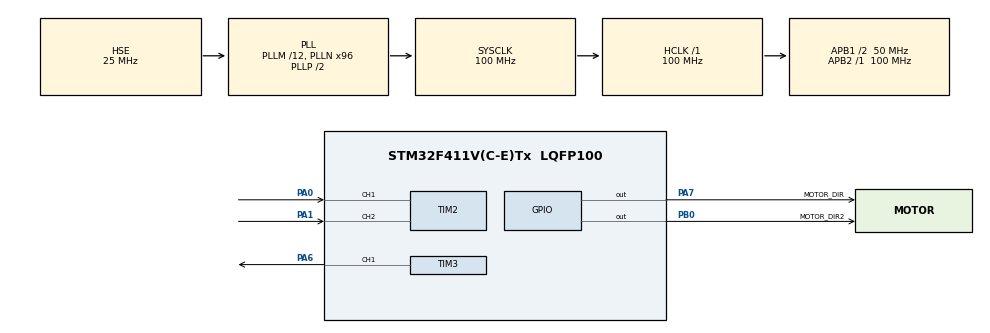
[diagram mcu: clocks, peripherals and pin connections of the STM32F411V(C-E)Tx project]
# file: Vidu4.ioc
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Mcu.Family=STM32F4
Mcu.Name=STM32F411V(C-E)Tx
Mcu.Package=LQFP100
NVIC.PriorityGroup=NVIC_PRIORITYGROUP_4
PA0-WKUP.GPIO_PuPd=GPIO_PULLUP
PA0-WKUP.Signal=S_TIM2_CH1_ETR
PA1.GPIO_PuPd=GPIO_PULLUP
PA1.Signal=S_TIM2_CH2
PA13.Mode=Serial_Wire
PA13.Signal=SYS_JTMS-SWDIO
PA14.Mode=Serial_Wire
PA14.Signal=SYS_JTCK-SWCLK
PA6.Signal=S_TIM3_CH1
PA7.GPIO_Label=MOTOR_DIR
PA7.Signal=GPIO_Output
PB0.GPIO_Label=MOTOR_DIR2
PB0.Signal=GPIO_Output
PH0\ -\ OSC_IN.Mode=HSE-External-Oscillator
PH0\ -\ OSC_IN.Signal=RCC_OSC_IN
PH1\ -\ OSC_OUT.Mode=HSE-External-Oscillator
PH1\ -\ OSC_OUT.Signal=RCC_OSC_OUT
ProjectManager.HeapSize=0x200
ProjectManager.StackSize=0x400
ProjectManager.TargetToolchain=MDK-ARM V5.32
RCC.48MHZClocksFreq_Value=50000000
RCC.AHBFreq_Value=100000000
RCC.APB1CLKDivider=RCC_HCLK_DIV2
RCC.APB1Freq_Value=50000000
RCC.APB1TimFreq_Value=100000000
RCC.APB2Freq_Value=100000000
RCC.APB2TimFreq_Value=100000000
RCC.CortexFreq_Value=100000000
RCC.HCLKFreq_Value=100000000
RCC.HSE_VALUE=25000000
RCC.HSI_VALUE=16000000
RCC.LSE_VALUE=32768
RCC.PLLM=12
RCC.PLLN=96
RCC.PLLSourceVirtual=RCC_PLLSOURCE_HSE
RCC.SYSCLKFreq_VALUE=100000000
RCC.SYSCLKSource=RCC_SYSCLKSOURCE_PLLCLK
RCC.VCOOutputFreq_Value=200000000
SH.S_TIM2_CH1_ETR.0=TIM2_CH1,Encoder_Interface
SH.S_TIM2_CH2.0=TIM2_CH2,Encoder_Interface
SH.S_TIM3_CH1.0=TIM3_CH1,PWM Generation1 CH1
TIM2.EncoderMode=TIM_ENCODERMODE_TI12
TIM3.AutoReloadPreload=TIM_AUTORELOAD_PRELOAD_ENABLE
TIM3.Channel-PWM\ Generation1\ CH1=TIM_CHANNEL_1
TIM3.Period=4999
VP_TIM3_VS_ClockSourceINT.Mode=Internal
board=custom

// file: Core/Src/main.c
/* USER CODE BEGIN Header */
/**
  ******************************************************************************
  * @file           : main.c
  * @brief          : Main program body
  ******************************************************************************
  * @attention
  *
  * Copyright (c) 2025 STMicroelectronics.
  * All rights reserved.
  *
  * This software is licensed under terms that can be found in the LICENSE file
  * in the root directory of this software component.
  * If no LICENSE file comes with this software, it is provided AS-IS.
  *
  ******************************************************************************
  */
/* USER CODE END Header */
#include "main.h"

/* USER CODE BEGIN Includes */
#include "pid_model.h"
/* USER CODE END Includes */

TIM_HandleTypeDef htim2;
TIM_HandleTypeDef htim3;

/* USER CODE BEGIN PV */
int32_t enc_cnt;
volatile uint32_t pid_tick_ms = 0;
/* USER CODE END PV */

void SystemClock_Config(void);
static void MX_GPIO_Init(void);
static void MX_TIM3_Init(void);
static void MX_TIM2_Init(void);
/* USER CODE BEGIN PFP */
void HAL_SYSTICK_Callback(void);
/* USER CODE END PFP */

int main(void)
{

  /* MCU Configuration--------------------------------------------------------*/

  /* Reset of all peripherals, Initializes the Flash interface and the Systick. */
  HAL_Init();

  /* Configure the system clock */
  SystemClock_Config();

  /* Initialize all configured peripherals */
  MX_GPIO_Init();
  MX_TIM3_Init();
  MX_TIM2_Init();
  /* USER CODE BEGIN 2 */
	/* Initialize Simulink PID model (states, internal variables, etc.) */
  pid_model_initialize();

  /* Reset encoder counter to zero before starting */
  __HAL_TIM_SET_COUNTER(&htim2, 0);

  /* Start TIM2 in encoder interface mode (counts encoder pulses) */
  HAL_TIM_Encoder_Start(&htim2, TIM_CHANNEL_ALL);

  /* Start TIM3 PWM Channel 1 (output will be updated in control loop) */
  HAL_TIM_PWM_Start(&htim3, TIM_CHANNEL_1);
  /* USER CODE END 2 */

  /* Infinite loop */
  while (1)
  {

  }
}

void SystemClock_Config(void)
{
  RCC_OscInitTypeDef RCC_OscInitStruct = {0};
  RCC_ClkInitTypeDef RCC_ClkInitStruct = {0};

  /** Configure the main internal regulator output voltage
  */
  __HAL_RCC_PWR_CLK_ENABLE();
  __HAL_PWR_VOLTAGESCALING_CONFIG(PWR_REGULATOR_VOLTAGE_SCALE1);

  /** Initializes the RCC Oscillators according to the specified parameters
  * in the RCC_OscInitTypeDef structure.
  */
  RCC_OscInitStruct.OscillatorType = RCC_OSCILLATORTYPE_HSE;
  RCC_OscInitStruct.HSEState = RCC_HSE_ON;
  RCC_OscInitStruct.PLL.PLLState = RCC_PLL_ON;
  RCC_OscInitStruct.PLL.PLLSource = RCC_PLLSOURCE_HSE;
  RCC_OscInitStruct.PLL.PLLM = 12;
  RCC_OscInitStruct.PLL.PLLN = 96;
  RCC_OscInitStruct.PLL.PLLP = RCC_PLLP_DIV2;
  RCC_OscInitStruct.PLL.PLLQ = 4;
  if (HAL_RCC_OscConfig(&RCC_OscInitStruct) != HAL_OK)
  {
    Error_Handler();
  }

  /** Initializes the CPU, AHB and APB buses clocks
  */
  RCC_ClkInitStruct.ClockType = RCC_CLOCKTYPE_HCLK|RCC_CLOCKTYPE_SYSCLK
                              |RCC_CLOCKTYPE_PCLK1|RCC_CLOCKTYPE_PCLK2;
  RCC_ClkInitStruct.SYSCLKSource = RCC_SYSCLKSOURCE_PLLCLK;
  RCC_ClkInitStruct.AHBCLKDivider = RCC_SYSCLK_DIV1;
  RCC_ClkInitStruct.APB1CLKDivider = RCC_HCLK_DIV2;
  RCC_ClkInitStruct.APB2CLKDivider = RCC_HCLK_DIV1;

  if (HAL_RCC_ClockConfig(&RCC_ClkInitStruct, FLASH_LATENCY_3) != HAL_OK)
  {
    Error_Handler();
  }
}

static void MX_TIM2_Init(void)
{

  TIM_Encoder_InitTypeDef sConfig = {0};
  TIM_MasterConfigTypeDef sMasterConfig = {0};

  htim2.Instance = TIM2;
  htim2.Init.Prescaler = 0;
  htim2.Init.CounterMode = TIM_COUNTERMODE_UP;
  htim2.Init.Period = 4294967295;
  htim2.Init.ClockDivision = TIM_CLOCKDIVISION_DIV1;
  htim2.Init.AutoReloadPreload = TIM_AUTORELOAD_PRELOAD_DISABLE;
  sConfig.EncoderMode = TIM_ENCODERMODE_TI12;
  sConfig.IC1Polarity = TIM_ICPOLARITY_RISING;
  sConfig.IC1Selection = TIM_ICSELECTION_DIRECTTI;
  sConfig.IC1Prescaler = TIM_ICPSC_DIV1;
  sConfig.IC1Filter = 0;
  sConfig.IC2Polarity = TIM_ICPOLARITY_RISING;
  sConfig.IC2Selection = TIM_ICSELECTION_DIRECTTI;
  sConfig.IC2Prescaler = TIM_ICPSC_DIV1;
  sConfig.IC2Filter = 0;
  if (HAL_TIM_Encoder_Init(&htim2, &sConfig) != HAL_OK)
  {
    Error_Handler();
  }
  sMasterConfig.MasterOutputTrigger = TIM_TRGO_RESET;
  sMasterConfig.MasterSlaveMode = TIM_MASTERSLAVEMODE_DISABLE;
  if (HAL_TIMEx_MasterConfigSynchronization(&htim2, &sMasterConfig) != HAL_OK)
  {
    Error_Handler();
  }

}

static void MX_TIM3_Init(void)
{

  TIM_ClockConfigTypeDef sClockSourceConfig = {0};
  TIM_MasterConfigTypeDef sMasterConfig = {0};
  TIM_OC_InitTypeDef sConfigOC = {0};

  htim3.Instance = TIM3;
  htim3.Init.Prescaler = 0;
  htim3.Init.CounterMode = TIM_COUNTERMODE_UP;
  htim3.Init.Period = 4999;
  htim3.Init.ClockDivision = TIM_CLOCKDIVISION_DIV1;
  htim3.Init.AutoReloadPreload = TIM_AUTORELOAD_PRELOAD_ENABLE;
  if (HAL_TIM_Base_Init(&htim3) != HAL_OK)
  {
    Error_Handler();
  }
  sClockSourceConfig.ClockSource = TIM_CLOCKSOURCE_INTERNAL;
  if (HAL_TIM_ConfigClockSource(&htim3, &sClockSourceConfig) != HAL_OK)
  {
    Error_Handler();
  }
  if (HAL_TIM_PWM_Init(&htim3) != HAL_OK)
  {
    Error_Handler();
  }
  sMasterConfig.MasterOutputTrigger = TIM_TRGO_RESET;
  sMasterConfig.MasterSlaveMode = TIM_MASTERSLAVEMODE_DISABLE;
  if (HAL_TIMEx_MasterConfigSynchronization(&htim3, &sMasterConfig) != HAL_OK)
  {
    Error_Handler();
  }
  sConfigOC.OCMode = TIM_OCMODE_PWM1;
  sConfigOC.Pulse = 0;
  sConfigOC.OCPolarity = TIM_OCPOLARITY_HIGH;
  sConfigOC.OCFastMode = TIM_OCFAST_DISABLE;
  if (HAL_TIM_PWM_ConfigChannel(&htim3, &sConfigOC, TIM_CHANNEL_1) != HAL_OK)
  {
    Error_Handler();
  }
  HAL_TIM_MspPostInit(&htim3);

}

static void MX_GPIO_Init(void)
{
  GPIO_InitTypeDef GPIO_InitStruct = {0};

  /* GPIO Ports Clock Enable */
  __HAL_RCC_GPIOH_CLK_ENABLE();
  __HAL_RCC_GPIOA_CLK_ENABLE();
  __HAL_RCC_GPIOB_CLK_ENABLE();

  /*Configure GPIO pin Output Level */
  HAL_GPIO_WritePin(MOTOR_DIR_GPIO_Port, MOTOR_DIR_Pin, GPIO_PIN_RESET);

  /*Configure GPIO pin Output Level */
  HAL_GPIO_WritePin(MOTOR_DIR2_GPIO_Port, MOTOR_DIR2_Pin, GPIO_PIN_RESET);

  /*Configure GPIO pin : MOTOR_DIR_Pin */
  GPIO_InitStruct.Pin = MOTOR_DIR_Pin;
  GPIO_InitStruct.Mode = GPIO_MODE_OUTPUT_PP;
  GPIO_InitStruct.Pull = GPIO_NOPULL;
  GPIO_InitStruct.Speed = GPIO_SPEED_FREQ_LOW;
  HAL_GPIO_Init(MOTOR_DIR_GPIO_Port, &GPIO_InitStruct);

  /*Configure GPIO pin : MOTOR_DIR2_Pin */
  GPIO_InitStruct.Pin = MOTOR_DIR2_Pin;
  GPIO_InitStruct.Mode = GPIO_MODE_OUTPUT_PP;
  GPIO_InitStruct.Pull = GPIO_NOPULL;
  GPIO_InitStruct.Speed = GPIO_SPEED_FREQ_LOW;
  HAL_GPIO_Init(MOTOR_DIR2_GPIO_Port, &GPIO_InitStruct);

}

/* USER CODE BEGIN 4 */
/**
  * @brief  5 ms control loop:
  *         - Read encoder position from TIM2
  *         - Update Simulink PID model input (In2)
  *         - Call pid_model_step()
  *         - Convert Out1 to PWM duty and motor direction
  */
void Control_Loop_5ms(void)
{
    int32_t enc_cnt;
    double angle_deg;
    double u;
    double duty_ratio;
    uint32_t pwm_max;
    uint32_t ccr;

    enc_cnt = __HAL_TIM_GET_COUNTER(&htim2);
    angle_deg = ((double)enc_cnt * 360.0) / ENCODER_CPR;
    In2 = (real_T)angle_deg;

    pid_model_step();

    u = (double)Out1;
    if (u >= 0.0) {
        HAL_GPIO_WritePin(MOTOR_DIR_GPIO_Port, MOTOR_DIR_Pin, GPIO_PIN_SET);
        HAL_GPIO_WritePin(MOTOR_DIR2_GPIO_Port, MOTOR_DIR2_Pin, GPIO_PIN_RESET);
    } else {
        HAL_GPIO_WritePin(MOTOR_DIR_GPIO_Port, MOTOR_DIR_Pin, GPIO_PIN_RESET);
        HAL_GPIO_WritePin(MOTOR_DIR2_GPIO_Port, MOTOR_DIR2_Pin, GPIO_PIN_SET);
        u = -u;
    }

    if (u > PID_OUTPUT_MAX) u = PID_OUTPUT_MAX;

    pwm_max    = __HAL_TIM_GET_AUTORELOAD(&htim3);
    duty_ratio = u / PID_OUTPUT_MAX;
    if (duty_ratio < 0) duty_ratio = 0;
    if (duty_ratio > 1) duty_ratio = 1;

    ccr = (uint32_t)(duty_ratio * pwm_max);
    __HAL_TIM_SET_COMPARE(&htim3, TIM_CHANNEL_1, ccr);
}

/* USER CODE END 4 */

void Error_Handler(void)
{
  __disable_irq();
  while (1)
  {
  }
}
